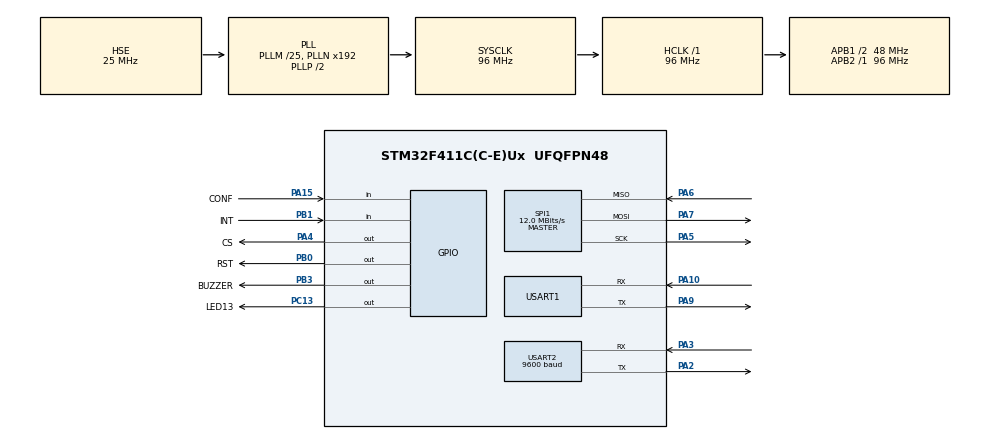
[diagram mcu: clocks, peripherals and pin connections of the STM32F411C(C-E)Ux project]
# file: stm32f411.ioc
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Dma.Request0=USART2_RX
Dma.Request1=USART2_TX
Dma.USART2_RX.0.Direction=DMA_PERIPH_TO_MEMORY
Dma.USART2_RX.0.FIFOMode=DMA_FIFOMODE_DISABLE
Dma.USART2_RX.0.Instance=DMA1_Stream5
Dma.USART2_RX.0.MemDataAlignment=DMA_MDATAALIGN_BYTE
Dma.USART2_RX.0.MemInc=DMA_MINC_ENABLE
Dma.USART2_RX.0.Mode=DMA_NORMAL
Dma.USART2_RX.0.PeriphDataAlignment=DMA_PDATAALIGN_BYTE
Dma.USART2_RX.0.PeriphInc=DMA_PINC_DISABLE
Dma.USART2_RX.0.Priority=DMA_PRIORITY_MEDIUM
Dma.USART2_TX.1.Direction=DMA_MEMORY_TO_PERIPH
Dma.USART2_TX.1.FIFOMode=DMA_FIFOMODE_DISABLE
Dma.USART2_TX.1.Instance=DMA1_Stream6
Dma.USART2_TX.1.MemDataAlignment=DMA_MDATAALIGN_BYTE
Dma.USART2_TX.1.MemInc=DMA_MINC_ENABLE
Dma.USART2_TX.1.Mode=DMA_NORMAL
Dma.USART2_TX.1.PeriphDataAlignment=DMA_PDATAALIGN_BYTE
Dma.USART2_TX.1.PeriphInc=DMA_PINC_DISABLE
Dma.USART2_TX.1.Priority=DMA_PRIORITY_MEDIUM
FREERTOS.BinarySemaphores01=display_update_sem,Dynamic,NULL,Available
FREERTOS.Mutexes01=mqtt_mutex,Dynamic,NULL,Available
FREERTOS.Tasks01=defaultTask,24,1024,StartDefaultTask,Default,NULL,Dynamic,NULL,NULL;modbusTask,24,512,StartModbusAppTask,Default,NULL,Dynamic,NULL,NULL
FREERTOS.configTOTAL_HEAP_SIZE=65536
Mcu.Family=STM32F4
Mcu.Name=STM32F411C(C-E)Ux
Mcu.Package=UFQFPN48
NVIC.DMA1_Stream5_IRQn=true\:5\:0\:true\:false\:true\:true\:false\:true\:true
NVIC.DMA1_Stream6_IRQn=true\:5\:0\:true\:false\:true\:true\:false\:true\:true
NVIC.PriorityGroup=NVIC_PRIORITYGROUP_4
NVIC.TIM1_UP_TIM10_IRQn=true\:15\:0\:false\:false\:true\:false\:false\:true\:true
NVIC.TimeBase=TIM1_UP_TIM10_IRQn
NVIC.TimeBaseIP=TIM1
NVIC.USART2_IRQn=true\:5\:0\:true\:false\:true\:true\:true\:true\:true
PA10.Mode=Asynchronous
PA10.Signal=USART1_RX
PA13.Mode=Serial_Wire
PA13.Signal=SYS_JTMS-SWDIO
PA14.Mode=Serial_Wire
PA14.Signal=SYS_JTCK-SWCLK
PA15.GPIO_Label=CONF
PA15.GPIO_PuPd=GPIO_PULLUP
PA15.Signal=GPIO_Input
PA2.Mode=Asynchronous
PA2.Signal=USART2_TX
PA3.Mode=Asynchronous
PA3.Signal=USART2_RX
PA4.GPIO_Label=CS
PA4.GPIO_Speed=GPIO_SPEED_FREQ_HIGH
PA4.PinState=GPIO_PIN_SET
PA4.Signal=GPIO_Output
PA5.Mode=Full_Duplex_Master
PA5.Signal=SPI1_SCK
PA6.Mode=Full_Duplex_Master
PA6.Signal=SPI1_MISO
PA7.Mode=Full_Duplex_Master
PA7.Signal=SPI1_MOSI
PA9.Mode=Asynchronous
PA9.Signal=USART1_TX
PB0.GPIO_Label=RST
PB0.GPIO_Speed=GPIO_SPEED_FREQ_HIGH
PB0.PinState=GPIO_PIN_SET
PB0.Signal=GPIO_Output
PB1.GPIO_Label=INT
PB1.GPIO_PuPd=GPIO_PULLUP
PB1.Signal=GPIO_Input
PB3.GPIO_Label=BUZZER
PB3.Signal=GPIO_Output
PC13-ANTI_TAMP.GPIO_Label=LED13
PC13-ANTI_TAMP.Signal=GPIO_Output
PH0\ -\ OSC_IN.Mode=HSE-External-Oscillator
PH0\ -\ OSC_IN.Signal=RCC_OSC_IN
PH1\ -\ OSC_OUT.Mode=HSE-External-Oscillator
PH1\ -\ OSC_OUT.Signal=RCC_OSC_OUT
ProjectManager.HeapSize=0x200
ProjectManager.StackSize=0x400
ProjectManager.TargetToolchain=Makefile
RCC.48MHZClocksFreq_Value=48000000
RCC.AHBFreq_Value=96000000
RCC.APB1CLKDivider=RCC_HCLK_DIV2
RCC.APB1Freq_Value=48000000
RCC.APB1TimFreq_Value=96000000
RCC.APB2Freq_Value=96000000
RCC.APB2TimFreq_Value=96000000
RCC.CortexFreq_Value=96000000
RCC.HCLKFreq_Value=96000000
RCC.HSE_VALUE=25000000
RCC.HSI_VALUE=16000000
RCC.LSE_VALUE=32768
RCC.PLLM=25
RCC.PLLSourceVirtual=RCC_PLLSOURCE_HSE
RCC.SYSCLKFreq_VALUE=96000000
RCC.SYSCLKSource=RCC_SYSCLKSOURCE_PLLCLK
RCC.VCOOutputFreq_Value=192000000
SPI1.BaudRatePrescaler=SPI_BAUDRATEPRESCALER_8
SPI1.CalculateBaudRate=12.0 MBits/s
SPI1.Direction=SPI_DIRECTION_2LINES
SPI1.Mode=SPI_MODE_MASTER
SPI1.VirtualType=VM_MASTER
USART1.VirtualMode=VM_ASYNC
USART2.BaudRate=9600
USART2.VirtualMode=VM_ASYNC
VP_FREERTOS_VS_CMSIS_V2.Mode=CMSIS_V2
VP_SYS_VS_tim1.Mode=TIM1
board=custom

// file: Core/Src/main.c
/* USER CODE BEGIN Header */
/**
  ******************************************************************************
  * @file           : main.c
  * @brief          : Main program body
  ******************************************************************************
  * @attention
  *
  * Copyright (c) 2026 STMicroelectronics.
  * All rights reserved.
  *
  * This software is licensed under terms that can be found in the LICENSE file
  * in the root directory of this software component.
  * If no LICENSE file comes with this software, it is provided AS-IS.
  *
  ******************************************************************************
  */
/* USER CODE END Header */
#include "main.h"
#include "cmsis_os.h"

/* USER CODE BEGIN Includes */
#include "wizchip_port.h"
#include "mqtt.h"
#include "Modbus.h"
#include <stdio.h>
#include <stdlib.h>
#include <string.h>
#include <stdbool.h>
/* USER CODE END Includes */

SPI_HandleTypeDef hspi1;

UART_HandleTypeDef huart1;
UART_HandleTypeDef huart2;
DMA_HandleTypeDef hdma_usart2_rx;
DMA_HandleTypeDef hdma_usart2_tx;

/* Definitions for defaultTask */
osThreadId_t defaultTaskHandle;
const osThreadAttr_t defaultTask_attributes = {
  .name = "defaultTask",
  .stack_size = 1024 * 4,
  .priority = (osPriority_t) osPriorityNormal,
};
/* Definitions for modbusTask */
osThreadId_t modbusTaskHandle;
const osThreadAttr_t modbusTask_attributes = {
  .name = "modbusTask",
  .stack_size = 512 * 4,
  .priority = (osPriority_t) osPriorityNormal,
};
/* Definitions for mqtt_mutex */
osMutexId_t mqtt_mutexHandle;
const osMutexAttr_t mqtt_mutex_attributes = {
  .name = "mqtt_mutex"
};
/* Definitions for display_update_sem */
osSemaphoreId_t display_update_semHandle;
const osSemaphoreAttr_t display_update_sem_attributes = {
  .name = "display_update_sem"
};
/* USER CODE BEGIN PV */
modbusHandler_t hmaster;

volatile uint32_t display_value = 0;
volatile uint16_t display_intensity = 15;
volatile uint16_t display_padding = 1; // Default padding enabled (shows 00000 instead of 0)
volatile uint16_t display_state = 1; // 1=ON, 0=OFF
volatile bool display_updated = false;
volatile bool config_mode = false;
volatile uint8_t display_target_id = 0; // 0 means broadcast to all online slaves
osMutexId_t mqtt_mutex;
osSemaphoreId_t display_update_sem;
osMessageQueueId_t mqtt_tx_queueHandle;

uint8_t online_slave_ids[MAX_SLAVE_DEVICES] = {0};
volatile int online_slave_count = 0;

uint8_t registered_slave_ids[MAX_SLAVE_DEVICES] = {0};
volatile int registered_slave_count = 0;

slave_display_t slave_registry[MAX_SLAVE_ARRAY_SIZE];
/* USER CODE END PV */

void SystemClock_Config(void);
static void MX_GPIO_Init(void);
static void MX_DMA_Init(void);
static void MX_SPI1_Init(void);
static void MX_USART1_UART_Init(void);
static void MX_USART2_UART_Init(void);
void StartDefaultTask(void *argument);
void StartModbusAppTask(void *argument);

int main(void)
{

  /* MCU Configuration--------------------------------------------------------*/

  /* Reset of all peripherals, Initializes the Flash interface and the Systick. */
  HAL_Init();

  /* Configure the system clock */
  SystemClock_Config();

  /* Initialize all configured peripherals */
  MX_GPIO_Init();
  MX_DMA_Init();
  MX_SPI1_Init();
  MX_USART1_UART_Init();
  MX_USART2_UART_Init();
  /* USER CODE BEGIN 2 */
  if (W5500_Init() != 0)
    Error_Handler();

  MQTT_App_Init();
  /* USER CODE END 2 */

  /* Init scheduler */
  osKernelInitialize();
  /* Create the mutex(es) */
  /* creation of mqtt_mutex */
  mqtt_mutexHandle = osMutexNew(&mqtt_mutex_attributes);

  /* Create the semaphores(s) */
  /* creation of display_update_sem */
  display_update_semHandle = osSemaphoreNew(1, 1, &display_update_sem_attributes);

  /* USER CODE BEGIN RTOS_QUEUES */
  /* add queues, ... */
  mqtt_tx_queueHandle = osMessageQueueNew(32, sizeof(mqtt_msg_t), NULL);
  /* USER CODE END RTOS_QUEUES */

  /* Create the thread(s) */
  /* creation of defaultTask */
  defaultTaskHandle = osThreadNew(StartDefaultTask, NULL, &defaultTask_attributes);

  /* creation of modbusTask */
  modbusTaskHandle = osThreadNew(StartModbusAppTask, NULL, &modbusTask_attributes);

  /* USER CODE BEGIN RTOS_THREADS */
  mqtt_mutex = mqtt_mutexHandle;
  display_update_sem = display_update_semHandle;
  /* USER CODE END RTOS_THREADS */

  /* Start scheduler */
  osKernelStart();

  /* We should never get here as control is now taken by the scheduler */

  /* Infinite loop */
  while (1)
  {

  }
}

void SystemClock_Config(void)
{
  RCC_OscInitTypeDef RCC_OscInitStruct = {0};
  RCC_ClkInitTypeDef RCC_ClkInitStruct = {0};

  /** Configure the main internal regulator output voltage
  */
  __HAL_RCC_PWR_CLK_ENABLE();
  __HAL_PWR_VOLTAGESCALING_CONFIG(PWR_REGULATOR_VOLTAGE_SCALE1);

  /** Initializes the RCC Oscillators according to the specified parameters
  * in the RCC_OscInitTypeDef structure.
  */
  RCC_OscInitStruct.OscillatorType = RCC_OSCILLATORTYPE_HSE;
  RCC_OscInitStruct.HSEState = RCC_HSE_ON;
  RCC_OscInitStruct.PLL.PLLState = RCC_PLL_ON;
  RCC_OscInitStruct.PLL.PLLSource = RCC_PLLSOURCE_HSE;
  RCC_OscInitStruct.PLL.PLLM = 25;
  RCC_OscInitStruct.PLL.PLLN = 192;
  RCC_OscInitStruct.PLL.PLLP = RCC_PLLP_DIV2;
  RCC_OscInitStruct.PLL.PLLQ = 4;
  if (HAL_RCC_OscConfig(&RCC_OscInitStruct) != HAL_OK)
  {
    Error_Handler();
  }

  /** Initializes the CPU, AHB and APB buses clocks
  */
  RCC_ClkInitStruct.ClockType = RCC_CLOCKTYPE_HCLK|RCC_CLOCKTYPE_SYSCLK
                              |RCC_CLOCKTYPE_PCLK1|RCC_CLOCKTYPE_PCLK2;
  RCC_ClkInitStruct.SYSCLKSource = RCC_SYSCLKSOURCE_PLLCLK;
  RCC_ClkInitStruct.AHBCLKDivider = RCC_SYSCLK_DIV1;
  RCC_ClkInitStruct.APB1CLKDivider = RCC_HCLK_DIV2;
  RCC_ClkInitStruct.APB2CLKDivider = RCC_HCLK_DIV1;

  if (HAL_RCC_ClockConfig(&RCC_ClkInitStruct, FLASH_LATENCY_3) != HAL_OK)
  {
    Error_Handler();
  }
}

static void MX_SPI1_Init(void)
{

  /* SPI1 parameter configuration*/
  hspi1.Instance = SPI1;
  hspi1.Init.Mode = SPI_MODE_MASTER;
  hspi1.Init.Direction = SPI_DIRECTION_2LINES;
  hspi1.Init.DataSize = SPI_DATASIZE_8BIT;
  hspi1.Init.CLKPolarity = SPI_POLARITY_LOW;
  hspi1.Init.CLKPhase = SPI_PHASE_1EDGE;
  hspi1.Init.NSS = SPI_NSS_SOFT;
  hspi1.Init.BaudRatePrescaler = SPI_BAUDRATEPRESCALER_8;
  hspi1.Init.FirstBit = SPI_FIRSTBIT_MSB;
  hspi1.Init.TIMode = SPI_TIMODE_DISABLE;
  hspi1.Init.CRCCalculation = SPI_CRCCALCULATION_DISABLE;
  hspi1.Init.CRCPolynomial = 10;
  if (HAL_SPI_Init(&hspi1) != HAL_OK)
  {
    Error_Handler();
  }

}

static void MX_USART1_UART_Init(void)
{

  huart1.Instance = USART1;
  huart1.Init.BaudRate = 115200;
  huart1.Init.WordLength = UART_WORDLENGTH_8B;
  huart1.Init.StopBits = UART_STOPBITS_1;
  huart1.Init.Parity = UART_PARITY_NONE;
  huart1.Init.Mode = UART_MODE_TX_RX;
  huart1.Init.HwFlowCtl = UART_HWCONTROL_NONE;
  huart1.Init.OverSampling = UART_OVERSAMPLING_16;
  if (HAL_UART_Init(&huart1) != HAL_OK)
  {
    Error_Handler();
  }

}

static void MX_USART2_UART_Init(void)
{

  huart2.Instance = USART2;
  huart2.Init.BaudRate = 9600;
  huart2.Init.WordLength = UART_WORDLENGTH_8B;
  huart2.Init.StopBits = UART_STOPBITS_1;
  huart2.Init.Parity = UART_PARITY_NONE;
  huart2.Init.Mode = UART_MODE_TX_RX;
  huart2.Init.HwFlowCtl = UART_HWCONTROL_NONE;
  huart2.Init.OverSampling = UART_OVERSAMPLING_16;
  if (HAL_UART_Init(&huart2) != HAL_OK)
  {
    Error_Handler();
  }

}

static void MX_DMA_Init(void)
{

  /* DMA controller clock enable */
  __HAL_RCC_DMA1_CLK_ENABLE();

  /* DMA interrupt init */
  /* DMA1_Stream5_IRQn interrupt configuration */
  HAL_NVIC_SetPriority(DMA1_Stream5_IRQn, 5, 0);
  HAL_NVIC_EnableIRQ(DMA1_Stream5_IRQn);
  /* DMA1_Stream6_IRQn interrupt configuration */
  HAL_NVIC_SetPriority(DMA1_Stream6_IRQn, 5, 0);
  HAL_NVIC_EnableIRQ(DMA1_Stream6_IRQn);

}

static void MX_GPIO_Init(void)
{
  GPIO_InitTypeDef GPIO_InitStruct = {0};

  /* GPIO Ports Clock Enable */
  __HAL_RCC_GPIOC_CLK_ENABLE();
  __HAL_RCC_GPIOH_CLK_ENABLE();
  __HAL_RCC_GPIOA_CLK_ENABLE();
  __HAL_RCC_GPIOB_CLK_ENABLE();

  /*Configure GPIO pin Output Level */
  HAL_GPIO_WritePin(LED13_GPIO_Port, LED13_Pin, GPIO_PIN_RESET);

  /*Configure GPIO pin Output Level */
  HAL_GPIO_WritePin(CS_GPIO_Port, CS_Pin, GPIO_PIN_SET);

  /*Configure GPIO pin Output Level */
  HAL_GPIO_WritePin(RST_GPIO_Port, RST_Pin, GPIO_PIN_SET);

  /*Configure GPIO pin Output Level */
  HAL_GPIO_WritePin(BUZZER_GPIO_Port, BUZZER_Pin, GPIO_PIN_RESET);

  /*Configure GPIO pin : LED13_Pin */
  GPIO_InitStruct.Pin = LED13_Pin;
  GPIO_InitStruct.Mode = GPIO_MODE_OUTPUT_PP;
  GPIO_InitStruct.Pull = GPIO_NOPULL;
  GPIO_InitStruct.Speed = GPIO_SPEED_FREQ_LOW;
  HAL_GPIO_Init(LED13_GPIO_Port, &GPIO_InitStruct);

  /*Configure GPIO pin : CS_Pin */
  GPIO_InitStruct.Pin = CS_Pin;
  GPIO_InitStruct.Mode = GPIO_MODE_OUTPUT_PP;
  GPIO_InitStruct.Pull = GPIO_NOPULL;
  GPIO_InitStruct.Speed = GPIO_SPEED_FREQ_HIGH;
  HAL_GPIO_Init(CS_GPIO_Port, &GPIO_InitStruct);

  /*Configure GPIO pin : RST_Pin */
  GPIO_InitStruct.Pin = RST_Pin;
  GPIO_InitStruct.Mode = GPIO_MODE_OUTPUT_PP;
  GPIO_InitStruct.Pull = GPIO_NOPULL;
  GPIO_InitStruct.Speed = GPIO_SPEED_FREQ_HIGH;
  HAL_GPIO_Init(RST_GPIO_Port, &GPIO_InitStruct);

  /*Configure GPIO pin : INT_Pin */
  GPIO_InitStruct.Pin = INT_Pin;
  GPIO_InitStruct.Mode = GPIO_MODE_INPUT;
  GPIO_InitStruct.Pull = GPIO_PULLUP;
  HAL_GPIO_Init(INT_GPIO_Port, &GPIO_InitStruct);

  /*Configure GPIO pin : CONF_Pin */
  GPIO_InitStruct.Pin = CONF_Pin;
  GPIO_InitStruct.Mode = GPIO_MODE_INPUT;
  GPIO_InitStruct.Pull = GPIO_PULLUP;
  HAL_GPIO_Init(CONF_GPIO_Port, &GPIO_InitStruct);

  /*Configure GPIO pin : BUZZER_Pin */
  GPIO_InitStruct.Pin = BUZZER_Pin;
  GPIO_InitStruct.Mode = GPIO_MODE_OUTPUT_PP;
  GPIO_InitStruct.Pull = GPIO_NOPULL;
  GPIO_InitStruct.Speed = GPIO_SPEED_FREQ_LOW;
  HAL_GPIO_Init(BUZZER_GPIO_Port, &GPIO_InitStruct);

}

void StartDefaultTask(void *argument)
{
  /* USER CODE BEGIN 5 */
  /* Infinite loop */
  for(;;)
  {
    MQTT_App_Process();
    osDelay(10);
  }
  /* USER CODE END 5 */
}

void StartModbusAppTask(void *argument)
{
  /* USER CODE BEGIN StartModbusAppTask */
  static uint8_t online_slave_fail_count[MAX_SLAVE_ARRAY_SIZE] = {0};
  static uint32_t last_status_publish_tick = 0;

  // 1. Initialize Modbus Master
  printf("Modbus: Config USART2 RS485 as Modbus RTU Master, DMA mode.\r\n");

  hmaster.uModbusType = MB_MASTER;
  hmaster.port = &huart2;
  hmaster.u8id = 0;
  hmaster.EN_Port = NULL;
  hmaster.EN_Pin = 0;
  hmaster.u16timeOut = 1000;
  hmaster.xTypeHW = USART_HW_DMA;

  printf("Modbus: Initializing Modbus library...\r\n");
  ModbusInit(&hmaster);
  printf("Modbus: Starting Modbus task and timers...\r\n");
  ModbusStart(&hmaster);
  printf("Modbus: Master started successfully! Listening/transmitting on USART2 (RS485).\r\n");

  uint16_t read_data[5] = {0};
  modbus_t read_telegram;
  read_telegram.u8fct = MB_FC_READ_REGISTERS; // Read registers (FC03)
  read_telegram.u16RegAdd = 0;
  read_telegram.u16CoilsNo = 5;
  read_telegram.u16reg = read_data;

  uint16_t write_data[5] = {0};
  modbus_t write_telegram;
  write_telegram.u8fct = MB_FC_WRITE_MULTIPLE_REGISTERS; // Write registers (FC16)
  write_telegram.u16RegAdd = 0;
  write_telegram.u16CoilsNo = 5;
  write_telegram.u16reg = write_data;

  // --- Wait for MQTT Connection ---
  printf("Modbus: Waiting for MQTT connection to establish before running startup scan...\r\n");
  extern bool mqtt_is_connected;
  while (!mqtt_is_connected)
  {
    osDelay(100);
  }

  // --- Perform One-Time Startup Scan ---
  printf("Modbus: Running initial startup scan (ID 1-%d)...\r\n", MAX_SLAVE_DEVICES);
  xTimerChangePeriod(hmaster.xTimerTimeout, pdMS_TO_TICKS(MODBUS_FAST_TIMEOUT_MS), 0);

  uint8_t startup_active_ids[MAX_SLAVE_DEVICES];
  int startup_active_count = 0;

  uint16_t scan_data[1];
  modbus_t scan_telegram;
  scan_telegram.u8fct = MB_FC_READ_REGISTERS; // Read 1 register
  scan_telegram.u16RegAdd = 0;
  scan_telegram.u16CoilsNo = 1;
  scan_telegram.u16reg = scan_data;

  for (int id = 1; id <= MAX_SLAVE_DEVICES; id++)
  {
    scan_telegram.u8id = id;
    uint32_t result = ModbusQueryV2(&hmaster, scan_telegram);
    if (result == OP_OK_QUERY)
    {
      printf("Modbus: Startup found active Slave ID %d\r\n", id);
      startup_active_ids[startup_active_count++] = id;
    }
    osDelay(MODBUS_SCAN_YIELD_DELAY_MS); // Yield to other tasks
  }

  xTimerChangePeriod(hmaster.xTimerTimeout, pdMS_TO_TICKS(MODBUS_STANDARD_TIMEOUT_MS), 0);

  // Register found slaves
  online_slave_count = startup_active_count;
  memcpy(online_slave_ids, startup_active_ids, startup_active_count);
  registered_slave_count = startup_active_count;
  memcpy(registered_slave_ids, startup_active_ids, startup_active_count);
  printf("Modbus: Startup scan finished. Registered %d slaves.\r\n", online_slave_count);

  if (online_slave_count > 0)
  {
    printf("Modbus: Initializing display off - startup slaves...\r\n");
    for (int i = 0; i < online_slave_count; i++)
    {
      uint8_t sid = online_slave_ids[i];
      write_telegram.u8id = sid;
      write_data[0] = 0;
      write_data[1] = 0;
      write_data[2] = 15;
      write_data[3] = 1;
      write_data[4] = 0; // OFF
      ModbusQueryV2(&hmaster, write_telegram);

      // Update registry to reflect startup state (value 0, OFF)
      strcpy(slave_registry[sid].text, "0");
      slave_registry[sid].intensity = 15;
      slave_registry[sid].padding = 1;
      slave_registry[sid].state = 0;
      slave_registry[sid].is_configured = 1;
      slave_registry[sid].is_ascii = 0;
      osDelay(MODBUS_TRANSACTION_DELAY_MS);
    }

    publish_initial_slave_states();
  }

  // Trigger sync write to startup slaves (if any found)
  display_updated = false;
  // -------------------------------------

  /* Infinite loop */
  for(;;)
  {
    // 30-second offline slaves check
    uint32_t now_tick = HAL_GetTick();
    static uint32_t last_offline_check_tick = 0;
    if (!config_mode && (now_tick - last_offline_check_tick >= OFFLINE_CHECK_INTERVAL_MS || last_offline_check_tick == 0))
    {
      last_offline_check_tick = now_tick;
      bool online_list_changed = false;

      for (int i = 0; i < registered_slave_count; i++)
      {
        if (display_updated) break; // Break early if we have a pending display update command
        uint8_t registered_id = registered_slave_ids[i];

        // Check if registered_id is currently online
        bool is_currently_online = false;
        for (int j = 0; j < online_slave_count; j++)
        {
          if (online_slave_ids[j] == registered_id)
          {
            is_currently_online = true;
            break;
          }
        }

        if (!is_currently_online)
        {
          // Slave is registered but currently offline. Let's ping it!
          printf("Modbus: Pinging offline Slave ID %d to see if it came back...\r\n", registered_id);
          xTimerChangePeriod(hmaster.xTimerTimeout, pdMS_TO_TICKS(MODBUS_FAST_TIMEOUT_MS), 0);

          read_telegram.u8id = registered_id;
          uint32_t result = ModbusQueryV2(&hmaster, read_telegram);

          xTimerChangePeriod(hmaster.xTimerTimeout, pdMS_TO_TICKS(MODBUS_STANDARD_TIMEOUT_MS), 0);

          if (result == OP_OK_QUERY)
          {
            printf("Modbus: Offline Slave ID %d has come back online!\r\n", registered_id);
            online_slave_ids[online_slave_count++] = registered_id;
            online_slave_fail_count[registered_id] = 0;
            online_list_changed = true;
            slave_registry[registered_id].pending_write = 1; // Sync screen with registry value

            // Sort online_slave_ids to keep list in order
            for (int x = 0; x < online_slave_count - 1; x++) {
              for (int y = 0; y < online_slave_count - x - 1; y++) {
                if (online_slave_ids[y] > online_slave_ids[y+1]) {
                  uint8_t temp = online_slave_ids[y];
                  online_slave_ids[y] = online_slave_ids[y+1];
                  online_slave_ids[y+1] = temp;
                }
              }
            }
          }
          osDelay(MODBUS_SCAN_YIELD_DELAY_MS); // Yield briefly between pings
        }
      }

      if (online_list_changed)
      {
        // Publish updated list immediately to slaves/status
        extern bool mqtt_is_connected;
        if (mqtt_is_connected)
        {
          static char status_payload[1024];
          int pos = sprintf(status_payload, "{\"online_slaves\":[");
          for (int i = 0; i < online_slave_count; i++)
          {
            pos += sprintf(status_payload + pos, "%d", online_slave_ids[i]);
            if (i < online_slave_count - 1)
            {
              pos += sprintf(status_payload + pos, ",");
            }
          }
          sprintf(status_payload + pos, "]}");

          extern char master_uid[25];
          char status_topic[128];
          sprintf(status_topic, "master/%s/slaves/status", master_uid);
          MQTT_Queue_Publish(status_topic, status_payload);
          printf("MQTT: Queued updated online slaves list -> %s\r\n", status_payload);
          last_status_publish_tick = now_tick;
        }

        // Trigger screen write to synchronize the reconnected slave
        display_target_id = 0;
        display_updated = true;
      }
    }
    if (config_mode)
    {
      printf("Modbus: Config Mode active. Starting slave scan (ID 1-%d)...\r\n", MAX_SLAVE_DEVICES);

      // Temporarily change timeout to 150ms for faster scanning
      xTimerChangePeriod(hmaster.xTimerTimeout, pdMS_TO_TICKS(MODBUS_FAST_TIMEOUT_MS), 0);

      uint8_t active_ids[MAX_SLAVE_DEVICES];
      int active_count = 0;

      uint16_t scan_data[1];
      modbus_t scan_telegram;
      scan_telegram.u8fct = MB_FC_READ_REGISTERS; // Read 1 register
      scan_telegram.u16RegAdd = 0;
      scan_telegram.u16CoilsNo = 1;
      scan_telegram.u16reg = scan_data;

      for (int id = 1; id <= MAX_SLAVE_DEVICES; id++)
      {
        if (!config_mode) // Check if user aborted config mode mid-scan
        {
          printf("Modbus: Config Mode disabled mid-scan. Aborting...\r\n");
          break;
        }

        scan_telegram.u8id = id;
        uint32_t result = ModbusQueryV2(&hmaster, scan_telegram);
        if (result == OP_OK_QUERY)
        {
          printf("Modbus: Found active Slave ID %d\r\n", id);
          active_ids[active_count++] = id;
        }
        osDelay(MODBUS_SCAN_YIELD_DELAY_MS); // Yield to other tasks
      }

      // Restore standard timeout of 1000ms
      xTimerChangePeriod(hmaster.xTimerTimeout, pdMS_TO_TICKS(MODBUS_STANDARD_TIMEOUT_MS), 0);

      if (config_mode)
      {
        // Copy temporary results to registry
        online_slave_count = active_count;
        memcpy(online_slave_ids, active_ids, active_count);
        registered_slave_count = active_count;
        memcpy(registered_slave_ids, active_ids, active_count);

        for (int i = 0; i < active_count; i++)
        {
          uint8_t id = active_ids[i];
          slave_registry[id].pending_write = 1;
        }

        // Construct JSON payload: {"online_slaves":[1, 5, 12]}
        static char payload[1024];
        int pos = sprintf(payload, "{\"online_slaves\":[");
        for (int i = 0; i < active_count; i++)
        {
          pos += sprintf(payload + pos, "%d", active_ids[i]);
          if (i < active_count - 1)
          {
            pos += sprintf(payload + pos, ",");
          }
        }
        sprintf(payload + pos, "]}");

        printf("Modbus: Scan finished. Results: %s\r\n", payload);

        // Publish to MQTT slaves/status topic directly
        extern bool mqtt_is_connected;
        if (mqtt_is_connected)
        {
          extern char master_uid[25];
          char topic[128];
          sprintf(topic, "master/%s/slaves/status", master_uid);
          MQTT_Queue_Publish(topic, payload);
          printf("MQTT: Queued updated online slaves list after config scan to %s -> %s\r\n", topic, payload);
          last_status_publish_tick = HAL_GetTick();
        }
        else
        {
          printf("MQTT: Disconnected. Cannot send updated online slaves list.\r\n");
        }

        // Trigger a write update for newly found slaves to sync screen state
        display_target_id = 0;
        display_updated = (online_slave_count > 0);

        // End config mode and return to normal operation immediately
        config_mode = false;
        printf("Modbus: Config Mode finished. Returning to normal operation.\r\n");
      }
    }
    else if (online_slave_count > 0)
    {
      if (display_updated)
      {
        display_updated = false;

        for (int sid = 1; sid <= MAX_SLAVE_DEVICES; sid++)
        {
          if (slave_registry[sid].pending_write)
          {
            slave_registry[sid].pending_write = 0; // Clear the pending flag

            // Check if this slave is online
            bool is_online = false;
            for (int i = 0; i < online_slave_count; i++)
            {
              if (online_slave_ids[i] == sid)
              {
                is_online = true;
                break;
              }
            }

            if (is_online)
            {
              write_telegram.u8id = sid;

              // Sync registry values to write buffer
              if (slave_registry[sid].is_ascii)
              {
                write_data[0] = ((uint16_t)slave_registry[sid].text[0] << 8) | (uint16_t)slave_registry[sid].text[1];
                write_data[1] = ((uint16_t)slave_registry[sid].text[2] << 8) | (uint16_t)slave_registry[sid].text[3];
                write_data[3] = (0x0100) | (uint16_t)slave_registry[sid].text[4];
              }
              else
              {
                int32_t val = (int32_t)strtol(slave_registry[sid].text, NULL, 10);
                write_data[0] = (uint16_t)((val >> 16) & 0xFFFF);
                write_data[1] = (uint16_t)(val & 0xFFFF);
                write_data[3] = (0x0000) | (slave_registry[sid].padding & 0xFF);
              }
              write_data[2] = slave_registry[sid].intensity;
              write_data[4] = slave_registry[sid].state;

              uint32_t result = 0;
              int retries = 3;
              while (retries > 0)
              {
                printf("Modbus: Writing to Slave %d (FC16)... val: %s (ascii: %d)\r\n",
                       write_telegram.u8id, slave_registry[sid].text, slave_registry[sid].is_ascii);
                result = ModbusQueryV2(&hmaster, write_telegram);
                if (result == OP_OK_QUERY)
                {
                  printf("Modbus: Write to Slave %d success!\r\n", write_telegram.u8id);
                  break;
                }
                else
                {
                  retries--;
                  printf("Modbus: Write to Slave %d failed, err = %lu. Retrying (%d left)...\r\n",
                         write_telegram.u8id, result, retries);
                  if (retries > 0)
                  {
                    osDelay(MODBUS_RETRY_DELAY_MS);
                  }
                }
              }

              // Publish status back to server
              extern bool mqtt_is_connected;
              if (mqtt_is_connected)
              {
                char ack_payload[128];
                if (result == OP_OK_QUERY)
                {
                  if (slave_registry[sid].is_ascii)
                  {
                    sprintf(ack_payload, "{\"status\":\"success\",\"id\":%d,\"val\":\"%s\",\"intensity\":%d,\"state\":%d,\"pad\":%d}",
                            write_telegram.u8id, slave_registry[sid].text, slave_registry[sid].intensity, slave_registry[sid].state, slave_registry[sid].padding);
                  }
                  else
                  {
                    sprintf(ack_payload, "{\"status\":\"success\",\"id\":%d,\"val\":%s,\"intensity\":%d,\"state\":%d,\"pad\":%d}",
                            write_telegram.u8id, slave_registry[sid].text, slave_registry[sid].intensity, slave_registry[sid].state, slave_registry[sid].padding);
                  }
                }
                else
                {
                  sprintf(ack_payload, "{\"status\":\"failed\",\"id\":%d,\"error\":\"timeout\"}", write_telegram.u8id);
                }
                extern char master_uid[25];
                char ack_topic[128];
                sprintf(ack_topic, "master/%s/display/status", master_uid);
                MQTT_Queue_Publish(ack_topic, ack_payload);
                printf("MQTT: Queued write status to %s -> %s\r\n", ack_topic, ack_payload);
              }
              osDelay(MODBUS_TRANSACTION_DELAY_MS);
            }
            else
            {
              // Targeted slave is not online, publish not_online failure ACK
              printf("Modbus: Targeted Slave %d is not online. Skipping write.\r\n", sid);
              extern bool mqtt_is_connected;
              if (mqtt_is_connected)
              {
                char ack_payload[128];
                sprintf(ack_payload, "{\"status\":\"failed\",\"id\":%d,\"error\":\"not_online\"}", sid);
                extern char master_uid[25];
                char ack_topic[128];
                sprintf(ack_topic, "master/%s/display/status", master_uid);
                MQTT_Queue_Publish(ack_topic, ack_payload);
                printf("MQTT: Queued write status to %s -> %s\r\n", ack_topic, ack_payload);
              }
            }
          }
        }
      }
      else
      {
        // Heartbeat read for all online slaves
        for (int i = 0; i < online_slave_count; i++)
        {
          if (display_updated) break; // Don't issue heartbeat if we have a pending display update command waiting
          uint8_t slave_id = online_slave_ids[i];
          read_telegram.u8id = slave_id;
          uint32_t result = ModbusQueryV2(&hmaster, read_telegram);
          if (result == OP_OK_QUERY)
          {
            uint8_t mode = (read_data[3] >> 8) & 0xFF;
            bool mismatch = false;

            // Check if intensity or display state mismatch
            if (read_data[2] != slave_registry[slave_id].intensity ||
                read_data[4] != slave_registry[slave_id].state)
            {
              mismatch = true;
            }

            if (mode == 0x01) { // Slave is in ASCII Mode
              if (slave_registry[slave_id].is_ascii != 1)
              {
                mismatch = true;
              }
              else
              {
                char h_str[6];
                h_str[0] = (read_data[0] >> 8) & 0xFF;
                h_str[1] = read_data[0] & 0xFF;
                h_str[2] = (read_data[1] >> 8) & 0xFF;
                h_str[3] = read_data[1] & 0xFF;
                h_str[4] = read_data[3] & 0xFF;
                h_str[5] = '\0';
                printf("Modbus: Heartbeat Slave %d ok. display text: %s (ASCII)\r\n", slave_id, h_str);

                if (strncmp(h_str, slave_registry[slave_id].text, 5) != 0)
                {
                  mismatch = true;
                }
              }
            } else { // Slave is in Numeric Mode
              if (slave_registry[slave_id].is_ascii != 0 ||
                  (read_data[3] & 0xFF) != slave_registry[slave_id].padding)
              {
                mismatch = true;
              }
              else
              {
                uint32_t current_val = ((uint32_t)read_data[0] << 16) | read_data[1];
                printf("Modbus: Heartbeat Slave %d ok. display val: %lu\r\n", slave_id, current_val);

                uint32_t expected_val = (uint32_t)strtol(slave_registry[slave_id].text, NULL, 10);
                if (current_val != expected_val)
                {
                  mismatch = true;
                }
              }
            }

            if (mismatch)
            {
              printf("Modbus: Slave %d display mismatch detected! Force syncing...\r\n", slave_id);
              slave_registry[slave_id].pending_write = 1;
              display_updated = true;
            }

            online_slave_fail_count[slave_id] = 0; // Reset fail count
          }
          else
          {
            printf("Modbus: Heartbeat Slave %d failed, err = %lu\r\n", slave_id, result);
            online_slave_fail_count[slave_id]++;
            if (online_slave_fail_count[slave_id] >= HEARTBEAT_CONSECUTIVE_FAILS)
            {
              printf("Modbus: Slave %d failed %d consecutive heartbeats. Removing from online list.\r\n", slave_id, HEARTBEAT_CONSECUTIVE_FAILS);
              online_slave_fail_count[slave_id] = 0;

              // Shift elements to remove the offline slave from the active registry
              for (int j = i; j < online_slave_count - 1; j++)
              {
                online_slave_ids[j] = online_slave_ids[j + 1];
              }
              online_slave_count--;
              i--; // Adjust index since list size decreased

              // Force immediate status publish to MQTT
              last_status_publish_tick = 0;
            }
          }
          osDelay(MODBUS_TRANSACTION_DELAY_MS); // Brief delay between transactions
        }
      }

      // Periodic status publish to MQTT (every 10 seconds)
      uint32_t now = HAL_GetTick();
      if (now - last_status_publish_tick >= STATUS_PUBLISH_INTERVAL_MS || last_status_publish_tick == 0)
      {
        last_status_publish_tick = now;
        extern bool mqtt_is_connected;
        if (mqtt_is_connected)
        {
          static char status_payload[1024];
          int pos = sprintf(status_payload, "{\"online_slaves\":[");
          for (int i = 0; i < online_slave_count; i++)
          {
            pos += sprintf(status_payload + pos, "%d", online_slave_ids[i]);
            if (i < online_slave_count - 1)
            {
              pos += sprintf(status_payload + pos, ",");
            }
          }
          sprintf(status_payload + pos, "]}");

          extern char master_uid[25];
          char status_topic[128];
          sprintf(status_topic, "master/%s/slaves/status", master_uid);
          MQTT_Queue_Publish(status_topic, status_payload);
          printf("MQTT: Queued periodic online slaves list -> %s\r\n", status_payload);
        }
      }

      if (display_update_sem != NULL)
      {
        osSemaphoreAcquire(display_update_sem, pdMS_TO_TICKS(2000));
      }
      else
      {
        osDelay(2000);
      }
    }
    else
    {
      // No active slaves registered, publish empty status list periodically
      uint32_t now = HAL_GetTick();
      if (now - last_status_publish_tick >= STATUS_PUBLISH_INTERVAL_MS || last_status_publish_tick == 0)
      {
        last_status_publish_tick = now;
        extern bool mqtt_is_connected;
        if (mqtt_is_connected)
        {
          extern char master_uid[25];
          char status_topic[128];
          sprintf(status_topic, "master/%s/slaves/status", master_uid);
          MQTT_Queue_Publish(status_topic, "{\"online_slaves\":[]}");
          printf("MQTT: Queued periodic empty online slaves list\r\n");
        }
      }
      if (display_update_sem != NULL)
      {
        osSemaphoreAcquire(display_update_sem, pdMS_TO_TICKS(500));
      }
      else
      {
        osDelay(500);
      }
    }
  }
  /* USER CODE END StartModbusAppTask */
}

void HAL_TIM_PeriodElapsedCallback(TIM_HandleTypeDef *htim)
{
  if (htim->Instance == TIM1)
  {
    HAL_IncTick();
  }
}

void Error_Handler(void)
{
  __disable_irq();
  while (1)
  {
  }
}
